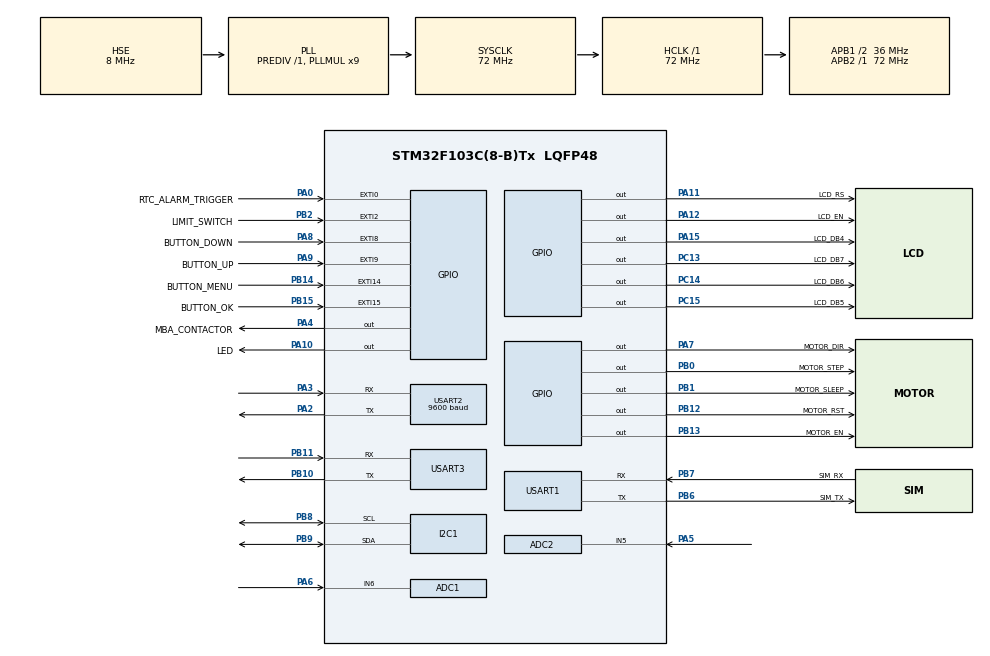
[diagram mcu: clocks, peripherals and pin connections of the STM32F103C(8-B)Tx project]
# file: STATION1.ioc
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ADC1.Channel-1\#ChannelRegularConversion=ADC_CHANNEL_6
ADC1.ContinuousConvMode=ENABLE
ADC1.NbrOfConversionFlag=1
ADC1.Rank-1\#ChannelRegularConversion=1
ADC1.SamplingTime-1\#ChannelRegularConversion=ADC_SAMPLETIME_239CYCLES_5
ADC1.master=1
ADC2.Channel-0\#ChannelRegularConversion=ADC_CHANNEL_5
ADC2.ContinuousConvMode=ENABLE
ADC2.NbrOfConversionFlag=1
ADC2.Rank-0\#ChannelRegularConversion=1
ADC2.SamplingTime-0\#ChannelRegularConversion=ADC_SAMPLETIME_239CYCLES_5
Dma.Request0=USART1_RX
Dma.Request1=USART2_RX
Dma.Request2=USART3_RX
Dma.USART1_RX.0.Direction=DMA_PERIPH_TO_MEMORY
Dma.USART1_RX.0.Instance=DMA1_Channel5
Dma.USART1_RX.0.MemDataAlignment=DMA_MDATAALIGN_BYTE
Dma.USART1_RX.0.MemInc=DMA_MINC_ENABLE
Dma.USART1_RX.0.Mode=DMA_NORMAL
Dma.USART1_RX.0.PeriphDataAlignment=DMA_PDATAALIGN_BYTE
Dma.USART1_RX.0.PeriphInc=DMA_PINC_DISABLE
Dma.USART1_RX.0.Priority=DMA_PRIORITY_LOW
Dma.USART2_RX.1.Direction=DMA_PERIPH_TO_MEMORY
Dma.USART2_RX.1.Instance=DMA1_Channel6
Dma.USART2_RX.1.MemDataAlignment=DMA_MDATAALIGN_BYTE
Dma.USART2_RX.1.MemInc=DMA_MINC_ENABLE
Dma.USART2_RX.1.Mode=DMA_NORMAL
Dma.USART2_RX.1.PeriphDataAlignment=DMA_PDATAALIGN_BYTE
Dma.USART2_RX.1.PeriphInc=DMA_PINC_DISABLE
Dma.USART2_RX.1.Priority=DMA_PRIORITY_LOW
Dma.USART3_RX.2.Direction=DMA_PERIPH_TO_MEMORY
Dma.USART3_RX.2.Instance=DMA1_Channel3
Dma.USART3_RX.2.MemDataAlignment=DMA_MDATAALIGN_BYTE
Dma.USART3_RX.2.MemInc=DMA_MINC_ENABLE
Dma.USART3_RX.2.Mode=DMA_NORMAL
Dma.USART3_RX.2.PeriphDataAlignment=DMA_PDATAALIGN_BYTE
Dma.USART3_RX.2.PeriphInc=DMA_PINC_DISABLE
Dma.USART3_RX.2.Priority=DMA_PRIORITY_LOW
I2C1.I2C_Mode=I2C_Fast
Mcu.Family=STM32F1
Mcu.Name=STM32F103C(8-B)Tx
Mcu.Package=LQFP48
NVIC.ADC1_2_IRQn=true\:0\:0\:true\:false\:true\:true\:true\:true
NVIC.DMA1_Channel3_IRQn=true\:0\:0\:false\:false\:true\:false\:true\:true
NVIC.DMA1_Channel5_IRQn=true\:0\:0\:false\:false\:true\:false\:true\:true
NVIC.DMA1_Channel6_IRQn=true\:0\:0\:false\:false\:true\:false\:true\:true
NVIC.EXTI0_IRQn=true\:0\:0\:false\:false\:true\:true\:true\:true
NVIC.EXTI15_10_IRQn=true\:0\:0\:false\:false\:true\:true\:true\:true
NVIC.EXTI2_IRQn=true\:0\:0\:false\:false\:true\:true\:true\:true
NVIC.EXTI9_5_IRQn=true\:0\:0\:false\:false\:true\:true\:true\:true
NVIC.PriorityGroup=NVIC_PRIORITYGROUP_4
NVIC.TIM2_IRQn=true\:0\:0\:false\:false\:true\:true\:true\:true
NVIC.TIM3_IRQn=true\:0\:0\:false\:false\:true\:true\:true\:true
NVIC.USART1_IRQn=true\:0\:0\:false\:false\:true\:true\:true\:true
NVIC.USART2_IRQn=true\:0\:0\:false\:false\:true\:true\:true\:true
NVIC.USART3_IRQn=true\:0\:0\:false\:false\:true\:true\:true\:true
PA0-WKUP.GPIO_Label=RTC_ALARM_TRIGGER
PA0-WKUP.GPIO_ModeDefaultEXTI=GPIO_MODE_IT_FALLING
PA0-WKUP.Signal=GPXTI0
PA10.GPIO_Label=LED
PA10.Signal=GPIO_Output
PA11.GPIO_Label=LCD_RS
PA11.Signal=GPIO_Output
PA12.GPIO_Label=LCD_EN
PA12.Signal=GPIO_Output
PA13.Mode=Serial_Wire
PA13.Signal=SYS_JTMS-SWDIO
PA14.Mode=Serial_Wire
PA14.Signal=SYS_JTCK-SWCLK
PA15.GPIO_Label=LCD_DB4
PA15.Signal=GPIO_Output
PA2.Mode=Asynchronous
PA2.Signal=USART2_TX
PA3.Mode=Asynchronous
PA3.Signal=USART2_RX
PA4.GPIO_Label=MBA_CONTACTOR
PA4.PinState=GPIO_PIN_SET
PA4.Signal=GPIO_Output
PA5.Signal=ADCx_IN5
PA6.Signal=ADCx_IN6
PA7.GPIO_Label=MOTOR_DIR
PA7.Signal=GPIO_Output
PA8.GPIO_Label=BUTTON_DOWN
PA8.GPIO_ModeDefaultEXTI=GPIO_MODE_IT_FALLING
PA8.Signal=GPXTI8
PA9.GPIO_Label=BUTTON_UP
PA9.GPIO_ModeDefaultEXTI=GPIO_MODE_IT_FALLING
PA9.Signal=GPXTI9
PB0.GPIO_Label=MOTOR_STEP
PB0.Signal=GPIO_Output
PB1.GPIO_Label=MOTOR_SLEEP
PB1.Signal=GPIO_Output
PB10.Mode=Asynchronous
PB10.Signal=USART3_TX
PB11.Mode=Asynchronous
PB11.Signal=USART3_RX
PB12.GPIO_Label=MOTOR_RST
PB12.Signal=GPIO_Output
PB13.GPIO_Label=MOTOR_EN
PB13.Signal=GPIO_Output
PB14.GPIO_Label=BUTTON_MENU
PB14.GPIO_ModeDefaultEXTI=GPIO_MODE_IT_FALLING
PB14.Signal=GPXTI14
PB15.GPIO_Label=BUTTON_OK
PB15.GPIO_ModeDefaultEXTI=GPIO_MODE_IT_FALLING
PB15.Signal=GPXTI15
PB2.GPIO_Label=LIMIT_SWITCH
PB2.Signal=GPXTI2
PB6.GPIO_Label=SIM_TX
PB6.Mode=Asynchronous
PB6.Signal=USART1_TX
PB7.GPIO_Label=SIM_RX
PB7.Mode=Asynchronous
PB7.Signal=USART1_RX
PB8.Mode=I2C
PB8.Signal=I2C1_SCL
PB9.Mode=I2C
PB9.Signal=I2C1_SDA
PC13-TAMPER-RTC.GPIO_Label=LCD_DB7
PC13-TAMPER-RTC.Signal=GPIO_Output
PC14-OSC32_IN.GPIO_Label=LCD_DB6
PC14-OSC32_IN.Signal=GPIO_Output
PC15-OSC32_OUT.GPIO_Label=LCD_DB5
PC15-OSC32_OUT.Signal=GPIO_Output
PD0-OSC_IN.Mode=HSE-External-Oscillator
PD0-OSC_IN.Signal=RCC_OSC_IN
PD1-OSC_OUT.Mode=HSE-External-Oscillator
PD1-OSC_OUT.Signal=RCC_OSC_OUT
ProjectManager.HeapSize=0x200
ProjectManager.StackSize=0x400
ProjectManager.TargetToolchain=STM32CubeIDE
RCC.ADCPresc=RCC_ADCPCLK2_DIV6
RCC.AHBFreq_Value=72000000
RCC.APB1CLKDivider=RCC_HCLK_DIV2
RCC.APB1Freq_Value=36000000
RCC.APB1TimFreq_Value=72000000
RCC.APB2Freq_Value=72000000
RCC.APB2TimFreq_Value=72000000
RCC.HCLKFreq_Value=72000000
RCC.PLLMUL=RCC_PLL_MUL9
RCC.PLLSourceVirtual=RCC_PLLSOURCE_HSE
RCC.SYSCLKFreq_VALUE=72000000
RCC.SYSCLKSource=RCC_SYSCLKSOURCE_PLLCLK
RCC.USBFreq_Value=72000000
SH.ADCx_IN5.0=ADC2_IN5,IN5
SH.ADCx_IN6.0=ADC1_IN6,IN6
TIM2.AutoReloadPreload=TIM_AUTORELOAD_PRELOAD_ENABLE
TIM2.Period=9999
TIM2.Prescaler=7199
TIM3.AutoReloadPreload=TIM_AUTORELOAD_PRELOAD_ENABLE
TIM3.Period=14831
TIM3.Prescaler=49999
USART1.VirtualMode=VM_ASYNC
USART2.BaudRate=9600
USART2.VirtualMode=VM_ASYNC
USART3.VirtualMode=VM_ASYNC
VP_TIM2_VS_ClockSourceINT.Mode=Internal
VP_TIM3_VS_ClockSourceINT.Mode=Internal
board=custom

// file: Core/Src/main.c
/* USER CODE BEGIN Header */
/**
  ******************************************************************************
  * @file           : main.c
  * @brief          : Main program body
  ******************************************************************************
  * @attention
  *
  * Copyright (c) 2023 STMicroelectronics.
  * All rights reserved.
  *
  * This software is licensed under terms that can be found in the LICENSE file
  * in the root directory of this software component.
  * If no LICENSE file comes with this software, it is provided AS-IS.
  *
  ******************************************************************************
  */
/* USER CODE END Header */
#include "main.h"
#include "adc.h"
#include "dma.h"
#include "i2c.h"
#include "tim.h"
#include "usart.h"
#include "gpio.h"

/* USER CODE BEGIN Includes */

#include <stdio.h>
#include "Serial_CFG.h"

#include "flash_storage.h"
#include "Lora.h"
#include "Task.h"
#include "button.h"

#include "App_MCU.h"
#include "App_MQTT.h"
#include "App_SMS.h"
#include "App_MBA_stepmor.h"
#include "App_Display.h"

/* USER CODE END Includes */

/* USER CODE BEGIN PD */

#define FLASH_ID_ADDR  0x0801FC00

#define DELAY_TIME_OFF_MBA_CALIB		3
#define DELAY_TIME_ON_MBA_CALIB			4
/* USER CODE END PD */

/* USER CODE BEGIN PV */

SIM_t mySIM;

SMS_t mySMS;

Station_t myStation = STATION_T_INIT;

// Create list of sensor node
s_list* SSnode_list;

uint8_t volatile sync_flag = 0;       // 0 : calib  ; 1: synchronize sensor node

uint32_t volatile  tmpadc= 0;
uint16_t volatile  adccount = 0;
uint32_t volatile  tmpadc1 = 0;
uint16_t volatile  adccount1 = 0;

uint32_t curtick = 0;
uint32_t pretick = 0;

uint32_t turnonMBAtick = 0;
uint8_t turnonMBAflag = 0;

uint32_t turnOFFMBAtick = 0;
uint8_t turnOFFMBAflag = 0;

uint8_t flag = 0;

uint32_t getgpstick = 0;
uint8_t gpsflag = 0;

uint32_t ticktimerpre = 0;
uint32_t ticktimercur = 0;
uint32_t ticktimer2pre = 0;
uint32_t ticktimer2cur = 0;

//extern uint8_t alarmflag;
//uint8_t flag = 0;
//uint8_t debug = 0;

/* USER CODE END PV */

void SystemClock_Config(void);

/* USER CODE BEGIN 0 */
static void ADC_Convert(uint32_t volatile *adcval, uint8_t CurorVol);
void HAL_UARTEx_RxEventCallback(UART_HandleTypeDef *huart, uint16_t Size)
{
	if (huart->Instance == USART1 )
	{
		SIM_callback(Size);
	}
	if (huart->Instance== USART2)
	{
		Serial_CFG_Callback(Size);
	}

	if (huart->Instance == USART3) {
		Lora_callback(Size);
	}
}

void HAL_GPIO_EXTI_Callback(uint16_t GPIO_Pin)
{
	if (GPIO_Pin == RTC_ALARM_TRIGGER_Pin)	{
//		alarmflag = 0;

		if(!sync_flag)	{

				// Set Mode Measure for Sensor node
				Lora_Setmode(MEASURE, 0);

				DS3231_ClearAlarm1();
				// Set alarm for Turn OFF MBA

				ticktimerpre = HAL_GetTick();
				HAL_TIM_Base_Start_IT(&htim3);

				triggerTaskflag(TASK_START_CALIB, FLAG_EN);

				// Display after OFF Contactor
				displayCalibFlag = 0;
		}
		else {
			Lora_Setmode(SLEEP, 0);
			Lora_Setmode(SLEEP, 0);
			DS3231_ClearAlarm1();
			sync_flag = 0;
		}

	}
	curtick = HAL_GetTick();

	if (curtick - pretick > 20)	{
		pretick = curtick;

		if (GPIO_Pin == BUTTON_MENU_Pin) {
			// Button Menu handler
			buttonMENU_handler();
//			ticktimerpre = HAL_GetTick();
//			HAL_TIM_Base_Start_IT(&htim3);
		}

		if (GPIO_Pin == BUTTON_OK_Pin) {
			// Button OK handler
			buttonOK_handler();
		}

		if (GPIO_Pin == BUTTON_UP_Pin) {
			// Button UP handler
			buttonUP_handler();
		}

		if (GPIO_Pin == BUTTON_DOWN_Pin) {
			// Button DOWN handler
			buttonDOWN_handler();
		}

//		if (GPIO_Pin == LIMIT_SWITCH_MAX_Pin) {
//			// Button Limit MAX handler
//			SW_LIMIT_MAX_handler();
//		}

		if (GPIO_Pin == LIMIT_SWITCH_Pin) {
			// Button Limit MIN handler
			SW_LIMIT_handler();
		}
	}
}

void HAL_ADC_ConvCpltCallback(ADC_HandleTypeDef* hadc)
{
	if (hadc->Instance == hadc1.Instance)	{
		tmpadc += HAL_ADC_GetValue(&hadc1);
		adccount++;
		ADC_Convert(&tmpadc, 0);

	}
	if (hadc->Instance == hadc2.Instance)	{
		tmpadc1 += HAL_ADC_GetValue(&hadc2);
		adccount1++;
		ADC_Convert(&tmpadc1, 1);
	}
}

void HAL_TIM_PeriodElapsedCallback(TIM_HandleTypeDef *htim)
{
	if (htim->Instance == TIM3 )	{

		static uint8_t count = 0;

		if(count == 1)	{

			ticktimercur = HAL_GetTick();
//			HAL_GPIO_TogglePin(LED_GPIO_Port, LED_Pin);

			// Turn OFF MBA for Calib
			myStation.MBAstate = switchContactor(MBA_OFF);

			// Set flag for display
			displayAfterSwitchoff = 1;

			// Stop timer Turn OFF
			HAL_TIM_Base_Stop_IT(&htim3);

			// Start timer 1s for turn ON contactor
			ticktimer2pre = HAL_GetTick();
			HAL_TIM_Base_Start_IT(&htim2);
		}

		if(count < 1) {
			count ++;
		}

	}
	else if (htim == &htim2)	{

//		ticktimer2cur = HAL_GetTick();

		static uint8_t count1 = 0;

		if (count1 == 1)	{

			ticktimer2cur = HAL_GetTick();

			// Turn ON contactor
			myStation.MBAstate = switchContactor(MBA_ON);
//			HAL_GPIO_TogglePin(LED_GPIO_Port, LED_Pin);

			// Stop timer Turn ON
			HAL_TIM_Base_Stop_IT(&htim2);

		}
		if (count1 < 1)	{
			count1 ++;
		}

	}
}

/* USER CODE END 0 */

int main(void)
{

  /* MCU Configuration--------------------------------------------------------*/

  /* Reset of all peripherals, Initializes the Flash interface and the Systick. */
  HAL_Init();

  /* Configure the system clock */
  SystemClock_Config();

  /* Initialize all configured peripherals */
  MX_GPIO_Init();
  MX_DMA_Init();
  MX_ADC2_Init();
  MX_USART1_UART_Init();
  MX_USART2_UART_Init();
  MX_USART3_UART_Init();
  MX_I2C1_Init();
  MX_ADC1_Init();
  MX_TIM3_Init();
  MX_TIM2_Init();
  /* USER CODE BEGIN 2 */
  SSnode_list =list_create();

  myStation.ssNode_list = SSnode_list;

  // Get station ID from flash
//  Flash_Write_NUM(FLASH_PAGE_127, 0x03);
  myStation.stID = (uint8_t)Flash_Read_NUM(FLASH_PAGE_127);

  /********************Configure MQTT********************************/
	mySIM.mqttServer.host = "tcp://broker.hivemq.com";
	mySIM.mqttServer.port = 1883;
	mySIM.mqttServer.willtopic = "unnormal_disconnect";
	mySIM.mqttServer.willmsg = (uint8_t*)malloc(sizeof(myStation.stID));
	sprintf((char*)mySIM.mqttServer.willmsg,"%d",myStation.stID);
	mySIM.mqttClient.keepAliveInterval = 180;
	sprintf(mySIM.mqttClient.clientID,"bsrclientII&IL%d",myStation.stID);
	mySIM.mqttReceive.qos =1;
	mySIM.mqttServer.connect=0;

	mySIM.sms = mySMS;

	// ADC
	HAL_ADC_Start_IT(&hadc1);
	HAL_ADC_Start_IT(&hadc2);

	initTask();

	// MBA and Step motor
	initApp_MBA_stepmor();
	// Lora
	initLora();

	// GPS
	initSerial_CFG();

	initGPS(&myRTC);

	initSIM();

	// Init MQTT app
	initApp_MQTT();

//	init_App_Serial();

	// Init RTC module (DS3231)
	DS3231_Init(&hi2c1);

	initApp_Display();

	initApp_SMS();

//	ticktimerpre = HAL_GetTick();
//	HAL_TIM_Base_Start_IT(&htim3);

//	triggerTaskflag(TASK_GET_GPS_TIME, FLAG_EN);

//    DS3231_GetTime(&myRTC);
//    DS3231_SetAlarm1(ALARM_MODE_HOUR_MIN_SEC_MATCHED, myRTC.Date, myRTC.Hour, myRTC.Min, myRTC.Sec + 5);
//	myRTC.Year = 24;
//	myRTC.Month = 1;
//	myRTC.Date = 23;
//	myRTC.DaysOfWeek = 3;
//	myRTC.Hour = 23;
//	myRTC.Min = 59;
//	myRTC.Sec = 59;
//	DS3231_SetTime(&myRTC);

//	myStation.calibTime.hour = 1;
//	myStation.calibTime.min = 40;
//	myStation.calibTime.sec = 0;
//
//	displayCalibFlag = 1;
//	displayAfterSwitchoff = 1;

  /* USER CODE END 2 */

  /* Infinite loop */
  while (1)
  {

    /* USER CODE BEGIN 3 */
	  //Turn OFF contactor
//	  if (turnOFFMBAflag && (HAL_GetTick() - turnOFFMBAtick >= 10000 ))	{
//		  myStation.MBAstate = switchContactor(MBA_OFF);
//		  turnonMBAtick = HAL_GetTick();
//		  turnOFFMBAflag = 0;
//		  turnonMBAflag = 1;
//	  }
//
//	  if (turnonMBAflag && (HAL_GetTick() - turnonMBAtick >= 1000))	{
//		  myStation.MBAstate = switchContactor(MBA_ON);
//		  turnonMBAflag = 0;
//	  }

	  if (HAL_GetTick() - getgpstick >= 180000 && !gpsflag)	{
		  gpsflag = 1;
		  triggerTaskflag(TASK_GET_GPS_TIME, FLAG_EN);
	  }
	  processApp_MCU();
	  processingApp_display();
	  processApp_MQTT();
	  processingApp_MBA_stepmor();
	  processApp_SMS();

//	  HAL_GPIO_TogglePin(LED_GPIO_Port, LED_Pin);
//	  testSynchronize();

	  HAL_Delay(20);
  }
  /* USER CODE END 3 */
}

void SystemClock_Config(void)
{
  RCC_OscInitTypeDef RCC_OscInitStruct = {0};
  RCC_ClkInitTypeDef RCC_ClkInitStruct = {0};
  RCC_PeriphCLKInitTypeDef PeriphClkInit = {0};

  /** Initializes the RCC Oscillators according to the specified parameters
  * in the RCC_OscInitTypeDef structure.
  */
  RCC_OscInitStruct.OscillatorType = RCC_OSCILLATORTYPE_HSE;
  RCC_OscInitStruct.HSEState = RCC_HSE_ON;
  RCC_OscInitStruct.HSEPredivValue = RCC_HSE_PREDIV_DIV1;
  RCC_OscInitStruct.HSIState = RCC_HSI_ON;
  RCC_OscInitStruct.PLL.PLLState = RCC_PLL_ON;
  RCC_OscInitStruct.PLL.PLLSource = RCC_PLLSOURCE_HSE;
  RCC_OscInitStruct.PLL.PLLMUL = RCC_PLL_MUL9;
  if (HAL_RCC_OscConfig(&RCC_OscInitStruct) != HAL_OK)
  {
    Error_Handler();
  }

  /** Initializes the CPU, AHB and APB buses clocks
  */
  RCC_ClkInitStruct.ClockType = RCC_CLOCKTYPE_HCLK|RCC_CLOCKTYPE_SYSCLK
                              |RCC_CLOCKTYPE_PCLK1|RCC_CLOCKTYPE_PCLK2;
  RCC_ClkInitStruct.SYSCLKSource = RCC_SYSCLKSOURCE_PLLCLK;
  RCC_ClkInitStruct.AHBCLKDivider = RCC_SYSCLK_DIV1;
  RCC_ClkInitStruct.APB1CLKDivider = RCC_HCLK_DIV2;
  RCC_ClkInitStruct.APB2CLKDivider = RCC_HCLK_DIV1;

  if (HAL_RCC_ClockConfig(&RCC_ClkInitStruct, FLASH_LATENCY_2) != HAL_OK)
  {
    Error_Handler();
  }
  PeriphClkInit.PeriphClockSelection = RCC_PERIPHCLK_ADC;
  PeriphClkInit.AdcClockSelection = RCC_ADCPCLK2_DIV6;
  if (HAL_RCCEx_PeriphCLKConfig(&PeriphClkInit) != HAL_OK)
  {
    Error_Handler();
  }
}

/* USER CODE BEGIN 4 */
/*
 *  @Para:  CurorVol : 0 Current, 1 Voltage
 */
static void ADC_Convert(uint32_t volatile *adcval, uint8_t CurorVol)
{
	switch (CurorVol)	{

	case 0:
		if (adccount == 1000)	{
			myStation.stCurrent = (uint16_t)( ( ( (*adcval)*3/4095) + 50)/6);
			*adcval = 0;
			adccount = 0;
		}
		break;

	case 1:
		if (adccount1 == 1000)	{
			myStation.stVoltage = (uint16_t)( ( *adcval)*3/68*1568/4095 + 1204);
//			myStation.stVoltage = (uint16_t)( ( ( (*adcval)*3/4095) ));
			*adcval = 0;
			adccount1 = 0;
		}
		break;
	default:
		break;
	}

}
/* USER CODE END 4 */

void Error_Handler(void)
{
  __disable_irq();
  while (1)
  {
  }
}
